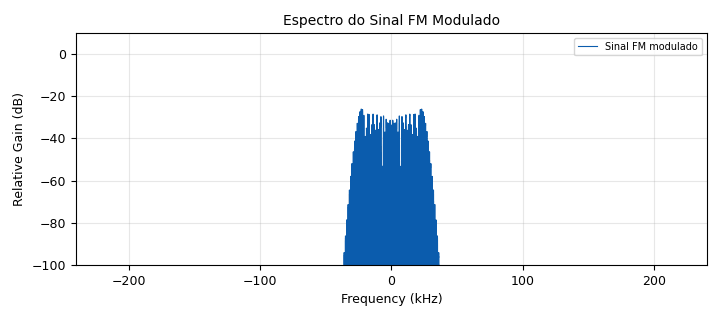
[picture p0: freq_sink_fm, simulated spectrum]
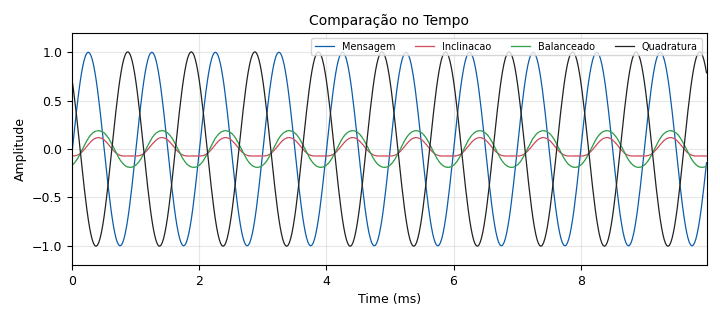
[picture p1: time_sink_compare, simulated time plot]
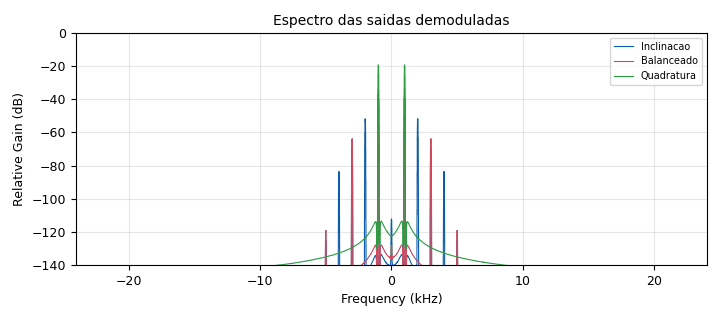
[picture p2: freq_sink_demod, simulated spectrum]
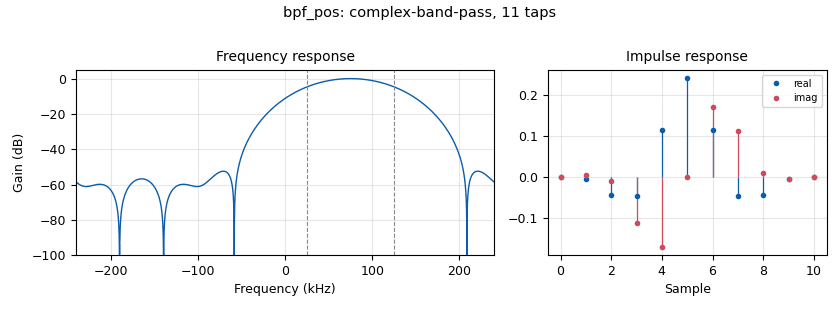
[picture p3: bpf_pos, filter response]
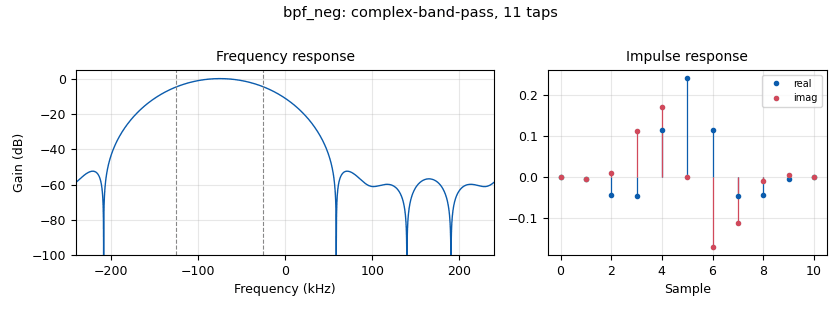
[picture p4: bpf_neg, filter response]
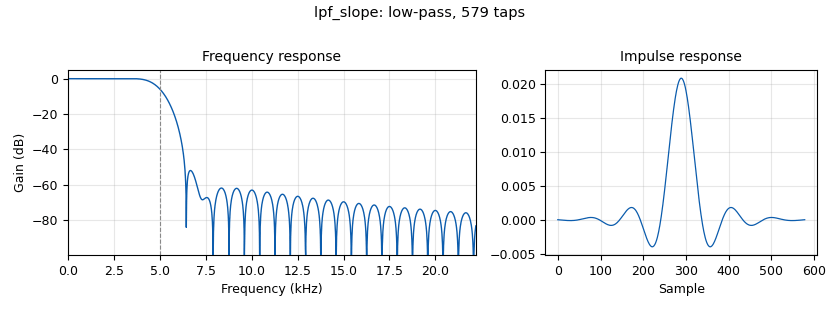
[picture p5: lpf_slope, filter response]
options:
  parameters:
    author: Prof. Daniel Costa Araújo
    description: Pratica 06 - Detector de inclinacao e discriminador balanceado
    generate_options: qt_gui
    id: pratica_06_fm_parte2
    output_language: python
    title: Prática 06 - Demodulação FM
  states: {}

blocks:
- name: samp_rate
  id: variable
  parameters:
    comment: Taxa de amostragem (quad_rate)
    value: '480000'
  states: {}
- name: audio_rate
  id: variable
  parameters:
    comment: Taxa de áudio
    value: '48000'
  states: {}
- name: fm_freq
  id: variable_qtgui_range
  parameters:
    comment: Frequência da mensagem
    gui_hint: 0,0,1,1
    label: Frequência mensagem fm (Hz)
    start: '200'
    step: '100'
    stop: '5000'
    value: '1000'
  states: {}
- name: max_dev
  id: variable_qtgui_range
  parameters:
    comment: Desvio máximo de frequência FM
    gui_hint: 0,1,1,1
    label: Desvio máximo (Hz)
    start: '5000'
    step: '1000'
    stop: '34000'
    value: '25000'
  states: {}
- name: noise_amp
  id: variable_qtgui_range
  parameters:
    comment: Amplitude do ruído
    gui_hint: 1,0,1,1
    label: Amplitude ruído
    start: '0'
    step: '0.05'
    stop: '2.0'
    value: '0'
  states: {}
- name: import_math
  id: import
  parameters:
    imports: import math
  states: {}
- name: src_mensagem
  id: analog_sig_source_x
  parameters:
    amp: '1.0'
    comment: Sinal mensagem m(t)
    freq: fm_freq
    offset: '0'
    phase: '0'
    samp_rate: samp_rate
    type: float
    waveform: analog.GR_COS_WAVE
  states: {}
- name: fm_mod
  id: analog_frequency_modulator_fc
  parameters:
    comment: sensibilidade 2 pi max_dev / samp_rate
    sensitivity: 2*math.pi*max_dev/samp_rate
  states: {}
- name: throttle
  id: blocks_throttle2
  parameters:
    samples_per_second: samp_rate
    type: complex
  states: {}
- name: src_noise
  id: analog_noise_source_x
  parameters:
    amp: noise_amp
    comment: Ruído gaussiano complexo
    noise_type: analog.GR_GAUSSIAN
    seed: '0'
    type: complex
  states: {}
- name: add_noise
  id: blocks_add_xx
  parameters:
    comment: Soma sinal FM + ruído
    type: complex
  states: {}
- name: freq_sink_fm
  id: qtgui_freq_sink_x
  parameters:
    bw: samp_rate
    fc: '0'
    fftsize: '8192'
    grid: 'True'
    gui_hint: 2,0,1,1
    label1: Sinal FM modulado
    name: '"Espectro do Sinal FM Modulado"'
    type: complex
    wintype: window.WIN_FLATTOP
    ymin: '-100'
  states: {}
- name: bpf_pos
  id: band_pass_filter
  parameters:
    comment: Filtro passa-faixa em +Δf (slope)
    decim: '1'
    gain: '1'
    high_cutoff_freq: 5*max_dev
    low_cutoff_freq: max_dev
    samp_rate: samp_rate
    type: fir_filter_ccc
    width: 4*max_dev
    win: window.WIN_HAMMING
  states: {}
- name: bpf_neg
  id: band_pass_filter
  parameters:
    comment: Filtro passa-faixa em -Δf (slope)
    decim: '1'
    gain: '1'
    high_cutoff_freq: '-max_dev'
    low_cutoff_freq: '-5*max_dev'
    samp_rate: samp_rate
    type: fir_filter_ccc
    width: 4*max_dev
    win: window.WIN_HAMMING
  states: {}
- name: mag_pos
  id: blocks_complex_to_mag
  parameters:
    comment: Envoltória do ramo +Δf
  states: {}
- name: mag_neg
  id: blocks_complex_to_mag
  parameters:
    comment: Envoltória do ramo -Δf
  states: {}
- name: dc_blocker_slope
  id: dc_blocker_xx
  parameters:
    comment: Remove nível CC do slope
    length: '128'
    long_form: 'True'
    type: ff
  states: {}
- name: lpf_slope
  id: low_pass_filter
  parameters:
    comment: LPF de áudio + decimação
    cutoff_freq: '5000'
    decim: int(samp_rate/audio_rate)
    gain: '1'
    samp_rate: samp_rate
    type: fir_filter_fff
    width: '2000'
    win: window.WIN_HAMMING
  states: {}
- name: sub_balanced
  id: blocks_sub_xx
  parameters:
    comment: 'Subtração: mag_pos - mag_neg'
    type: float
  states: {}
- name: dc_blocker_bal
  id: dc_blocker_xx
  parameters:
    comment: Remove CC residual
    length: '128'
    long_form: 'True'
    type: ff
  states: {}
- name: lpf_bal
  id: low_pass_filter
  parameters:
    comment: LPF de áudio + decimação
    cutoff_freq: '5000'
    decim: int(samp_rate/audio_rate)
    gain: '1'
    samp_rate: samp_rate
    type: fir_filter_fff
    width: '2000'
    win: window.WIN_HAMMING
  states: {}
- name: quad_demod
  id: analog_quadrature_demod_cf
  parameters:
    comment: 'referencia: discriminador de quadratura (Pratica 05)'
    gain: samp_rate/(2*math.pi*max_dev)
  states: {}
- name: lpf_ref
  id: low_pass_filter
  parameters:
    cutoff_freq: '5000'
    decim: int(samp_rate/audio_rate)
    gain: '1'
    samp_rate: samp_rate
    type: fir_filter_fff
    width: '2000'
    win: window.WIN_HAMMING
  states: {}
- name: keep_msg
  id: blocks_keep_one_in_n
  parameters:
    comment: mensagem na taxa de audio
    n: int(samp_rate/audio_rate)
    type: float
  states: {}
- name: time_sink_compare
  id: qtgui_time_sink_x
  parameters:
    grid: 'True'
    gui_hint: 2,1,2,1
    label1: '"Mensagem"'
    label2: '"Inclinacao"'
    label3: '"Balanceado"'
    label4: '"Quadratura"'
    name: '"Comparação no Tempo"'
    nconnections: '4'
    size: '480'
    srate: audio_rate
    tr_mode: qtgui.TRIG_MODE_AUTO
    type: float
    ymax: '1.2'
    ymin: '-1.2'
  states: {}
- name: freq_sink_demod
  id: qtgui_freq_sink_x
  parameters:
    average: '0.2'
    bw: audio_rate
    fc: '0'
    fftsize: '4096'
    grid: 'True'
    gui_hint: 4,0,1,2
    label1: '"Inclinacao"'
    label2: '"Balanceado"'
    label3: '"Quadratura"'
    name: '"Espectro das saidas demoduladas"'
    nconnections: '3'
    type: float
    wintype: window.WIN_FLATTOP
    ymax: '0'
  states: {}

connections:
- [src_mensagem, '0', fm_mod, '0']
- [fm_mod, '0', throttle, '0']
- [throttle, '0', add_noise, '0']
- [src_noise, '0', add_noise, '1']
- [add_noise, '0', freq_sink_fm, '0']
- [add_noise, '0', bpf_pos, '0']
- [add_noise, '0', bpf_neg, '0']
- [add_noise, '0', quad_demod, '0']
- [bpf_pos, '0', mag_pos, '0']
- [bpf_neg, '0', mag_neg, '0']
- [mag_pos, '0', dc_blocker_slope, '0']
- [dc_blocker_slope, '0', lpf_slope, '0']
- [mag_pos, '0', sub_balanced, '0']
- [mag_neg, '0', sub_balanced, '1']
- [sub_balanced, '0', dc_blocker_bal, '0']
- [dc_blocker_bal, '0', lpf_bal, '0']
- [quad_demod, '0', lpf_ref, '0']
- [src_mensagem, '0', keep_msg, '0']
- [keep_msg, '0', time_sink_compare, '0']
- [lpf_slope, '0', time_sink_compare, '1']
- [lpf_bal, '0', time_sink_compare, '2']
- [lpf_ref, '0', time_sink_compare, '3']
- [lpf_slope, '0', freq_sink_demod, '0']
- [lpf_bal, '0', freq_sink_demod, '1']
- [lpf_ref, '0', freq_sink_demod, '2']

metadata:
  file_format: 1
  grc_version: 3.10.12.0
